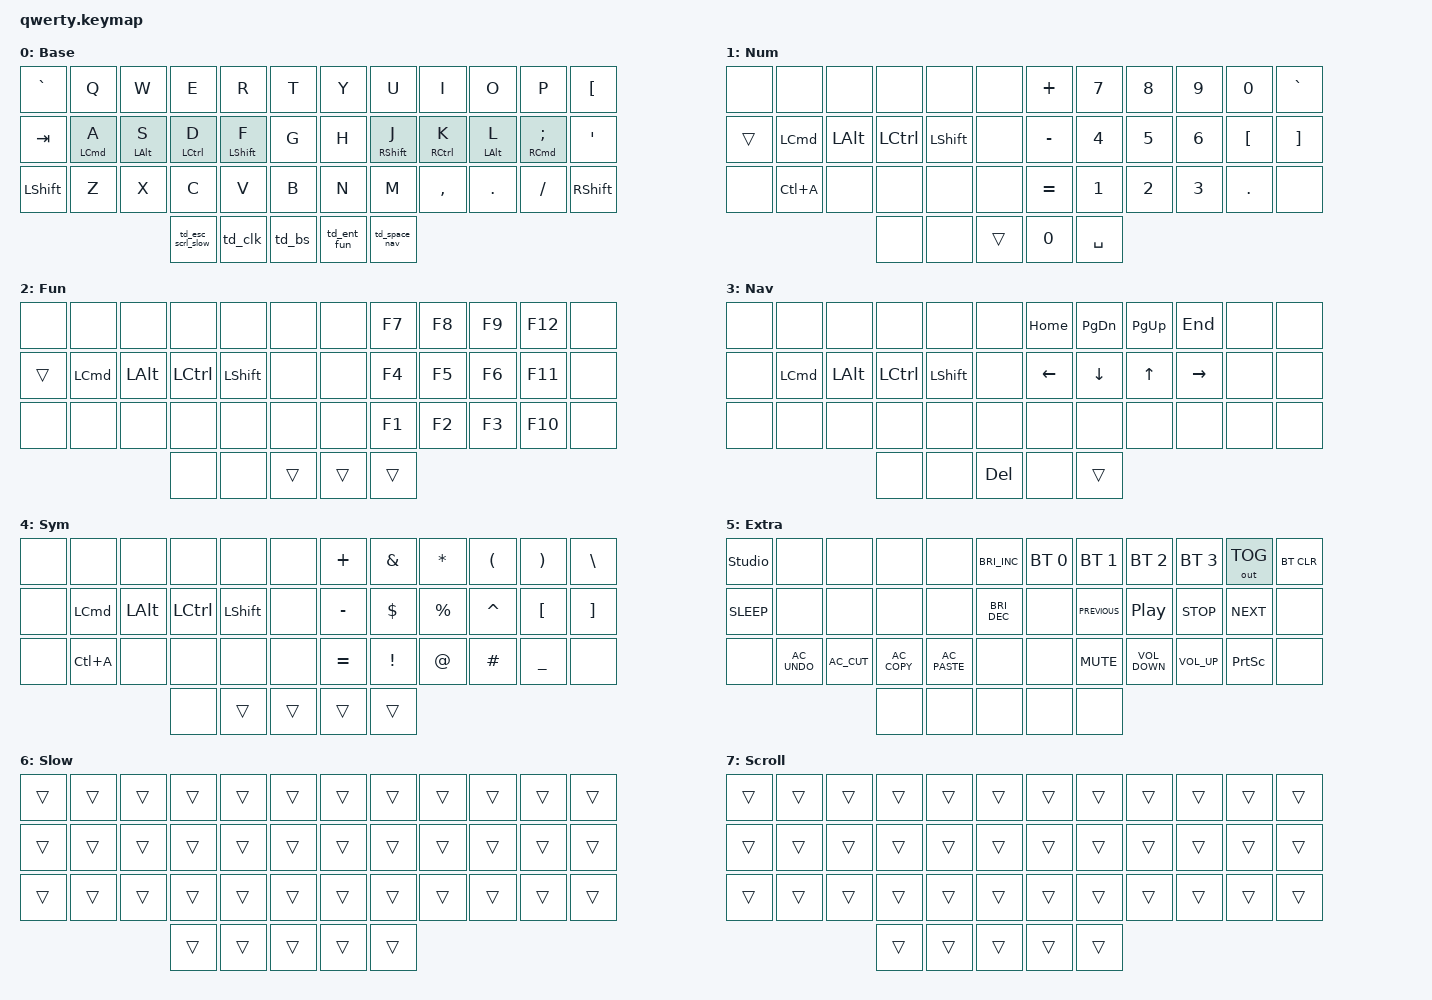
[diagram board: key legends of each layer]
/* upstream bindings and behaviors */
#include <behaviors.dtsi>
#include <dt-bindings/zmk/bt.h>
#include <dt-bindings/zmk/keys.h>
#include <dt-bindings/zmk/mouse.h>
#include <dt-bindings/zmk/outputs.h>
#include <behaviors/mouse_keys.dtsi>
#include <dt-bindings/zmk/ext_power.h>



/* local overlays */
#include "macros.dtsi"
#include "behaviors.dtsi"
#include "combos.dtsi"


/ {
/* --- KEYMAP CONFIG --- */
// ╭──────┬──────┬──────┬──────┬──────┬──────╮  ╭──────┬──────┬──────┬──────┬──────┬──────╮
//    00     01     02     03    04      05        06     07     08     09     10     11
// ├──────┼──────┼──────┼──────┼──────┼──────┤  ├──────┼──────┼──────┼──────┼──────┼──────┤
//    12     13     14     15    16      17        18     19     20     21     22     23
// ├──────┼──────┼──────┼──────┼──────┼──────┤  ├──────┼──────┼──────┼──────┼──────┼──────┤
//    24     25     26     27    28      29        30     31     32     33     34     35
// ╰──────┴──────┴──────┼──────┼──────┼──────┤  ├──────┼──────┼──────┴──────┴──────┴──────╯
//                         36     37     38        39     40
//                      ╰──────┴──────┴──────╯  ╰──────┴──────╯



    keymap {
        compatible = "zmk,keymap";

        BASE {
            display-name = "Base";
            bindings = <
// ╭───────────────┬────────────────┬────────────────┬─────────────────┬─────────────────┬──────╮  ╭──────┬──────────────────┬──────────────────┬─────────────────┬────────────────────────┬─────────────╮
    &kp GRAVE       &kp Q            &kp W            &kp E             &kp R             &kp T     &kp Y  &kp U              &kp I              &kp O             &kp P                     &kp LBKT
// ├───────────────┼────────────────┼────────────────┼─────────────────┼─────────────────┼──────┤  ├──────┼──────────────────┼──────────────────┼─────────────────┼────────────────────────┼─────────────┤
    &kp TAB         &ht_left LCMD A  &ht_left LALT S  &ht_left LCTRL D  &ht_left LSHFT F  &kp G     &kp H  &ht_right RSHFT J  &ht_right RCTRL K  &ht_right LALT L  &ht_right RCMD SEMICOLON  &kp APOS
// ├───────────────┼────────────────┼────────────────┼─────────────────┼─────────────────┼──────┤  ├──────┼──────────────────┼──────────────────┼─────────────────┼────────────────────────┼─────────────┤
    &kp LSHFT       &kp Z            &kp X            &kp C             &kp V             &kp B     &kp N  &kp M              &kp COMMA          &kp PERIOD        &kp SLASH                 &kp RSHFT
// ╰───────────────┴────────────────┴────────────────┼─────────────────┼─────────────────┼──────┤  ├──────┼──────────────────┼──────────────────┴─────────────────┴────────────────────────┴─────────────╯
                                                             &td_esc_scrl_slow   &td_clk  &td_bs   &td_ent_fun  &td_space_nav
                                                         // ╰──────────────────┴─────────┴──────╯  ╰──────────┴──────────────╯
            >;
        };

        NUM {
            display-name = "Num";
            bindings = <
// ╭───────────────┬────────────────┬────────────────┬─────────────────┬─────────────────┬──────╮  ╭──────┬──────────────────┬──────────────────┬─────────────────┬────────────────────────┬─────────────╮
    &none           &none            &none            &none             &none             &none     &kp PLUS     &kp N7  &kp N8  &kp N9  &kp N0    &kp GRAVE
    &trans          &kp LCMD         &kp LALT         &kp LCTRL         &kp LSHFT         &none     &kp MINUS    &kp N4  &kp N5  &kp N6  &kp LBKT  &kp RBKT
    &none           &kp LC(A)            &none            &none             &none         &none     &kp EQUAL    &kp N1  &kp N2  &kp N3  &kp DOT    &none
                                                                   &none  &none          &trans           &kp N0     &kp SPACE
            >;
        };

       FUN {
            display-name = "Fun";
            bindings = <
    &none           &none            &none            &none             &none             &none     &none &kp F7  &kp F8  &kp F9  &kp F12  &none
    &trans          &kp LCMD         &kp LALT         &kp LCTRL         &kp LSHFT         &none     &none &kp F4  &kp F5  &kp F6  &kp F11  &none
    &none           &none            &none            &none             &none             &none     &none &kp F1  &kp F2  &kp F3  &kp F10  &none
                                                                   &none  &none          &trans           &trans &trans
            >;
        };

        NAV {
            display-name = "Nav";
            bindings = <
// ╭───────────────┬────────────────┬────────────────┬─────────────────┬─────────────────┬──────╮  ╭──────┬──────────────────┬──────────────────┬─────────────────┬────────────────────────┬─────────────╮
    &none           &none            &none            &none             &none             &none     &kp HOME   &kp PG_DN      &kp PG_UP       &kp END         &none           &none
    &none           &kp LCMD         &kp LALT         &kp LCTRL         &kp LSHFT         &none     &kp LEFT   &kp DOWN       &kp UP          &kp RIGHT       &none           &none
    &none           &none           &none           &none           &none                 &none     &none      &none          &none           &none           &none           &none
                                                              &none   &none   &kp DEL               &none   &trans
            >;
        };

        SYM {
            display-name = "Sym";
            bindings = <
// ╭───────────────┬────────────────┬────────────────┬─────────────────┬─────────────────┬──────╮  ╭──────┬──────────────────┬──────────────────┬─────────────────┬────────────────────────┬─────────────╮

    &none           &none            &none            &none             &none             &none     &kp PLUS     &kp AMPS     &kp ASTRK  &kp LPAR  &kp RPAR  &kp BSLH
    &none           &kp LCMD         &kp LALT         &kp LCTRL         &kp LSHFT         &none     &kp MINUS    &kp DLLR     &kp PRCNT  &kp CARET &kp LBKT  &kp RBKT
    &none           &kp LC(A)        &none            &none             &none             &none     &kp EQUAL    &kp EXCL     &kp AT     &kp HASH  &kp UNDER     &none
                                                                       &none  &trans     &trans         &trans   &trans
            >;
        };


        EXTRAS {
            display-name = "Extra";
            bindings = <
    &studio_unlock    &none &none           &none            &none           &kp C_BRIGHTNESS_INC    &bt BT_SEL 0  &bt BT_SEL 1    &bt BT_SEL 2       &bt BT_SEL 3  &out OUT_TOG         &bt BT_CLR
    &kp C_SLEEP       &none &none           &none           &none           &kp C_BRIGHTNESS_DEC    &none         &kp C_PREVIOUS  &kp C_PLAY_PAUSE   &kp C_STOP    &kp C_NEXT           &none
    &none           &kp C_AC_UNDO   &kp C_AC_CUT    &kp C_AC_COPY   &kp C_AC_PASTE  &none                   &none      &kp K_MUTE      &kp C_VOLUME_DOWN  &kp C_VOLUME_UP   &kp PRINTSCREEN  &none
                                                                                   &none  &none  &none    &none         &none
            >;
        };

        SLOW {
            display-name = "Slow";
            bindings = <
&trans    &trans    &trans    &trans    &trans    &trans    &trans    &trans    &trans    &trans    &trans    &trans
&trans    &trans    &trans    &trans    &trans    &trans    &trans    &trans    &trans    &trans    &trans    &trans
&trans    &trans    &trans    &trans    &trans    &trans    &trans    &trans    &trans    &trans    &trans    &trans
                              &trans    &trans    &trans    &trans    &trans
            >;
        };

        SCROLL {
            display-name = "Scroll";
            bindings = <
&trans    &trans    &trans    &trans    &trans    &trans    &trans    &trans    &trans    &trans    &trans    &trans
&trans    &trans    &trans    &trans    &trans    &trans    &trans    &trans    &trans    &trans    &trans    &trans
&trans    &trans    &trans    &trans    &trans    &trans    &trans    &trans    &trans    &trans    &trans    &trans
                              &trans    &trans    &trans    &trans    &trans
            >;
        };

    };
};
